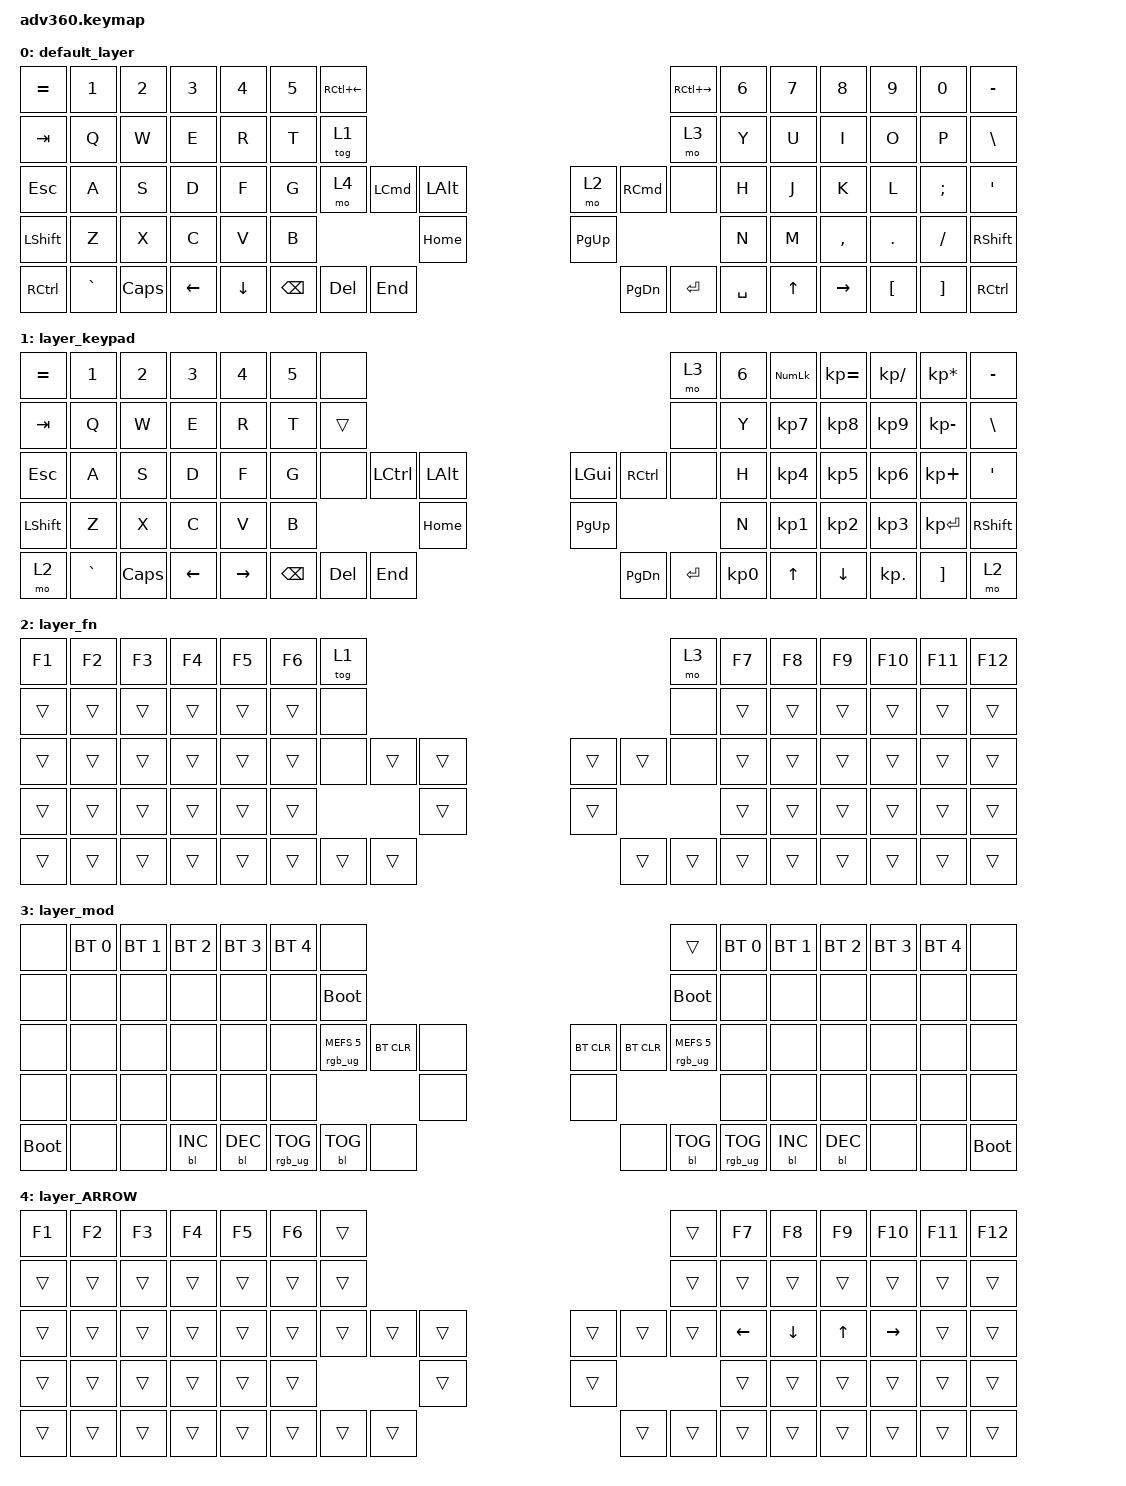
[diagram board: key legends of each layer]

/*
 * Copyright (c) 2020 The ZMK Contributors
 *
 * SPDX-License-Identifier: MIT
 */


/* THIS FILE WAS GENERATED!
 *
 * This file was generated automatically. You may or may not want to
 * edit it directly.
 */

#include <behaviors.dtsi>
#include <dt-bindings/zmk/keys.h>
#include <dt-bindings/zmk/bt.h>
#include <dt-bindings/zmk/rgb.h>
#include <dt-bindings/zmk/backlight.h>

/ {
  behaviors {
    #include "macros.dtsi"
    #include "version.dtsi"

    hm: homerow_mods {
        compatible = "zmk,behavior-hold-tap";
        label = "HOMEROW_MODS";
        #binding-cells = <2>;
        tapping-term-ms = <200>;
        quick_tap_ms = <175>;
        flavor = "tap-preferred";
        bindings = <&kp>, <&kp>;
    };
  };

    keymap {
        compatible = "zmk,keymap";


        default_layer {
            bindings = <
 &kp EQUAL     &kp N1    &kp N2    &kp N3    &kp N4  &kp N5            &kp RC(LEFT)                                                                            &kp RC(RIGHT)  &kp N6  &kp N7     &kp N8    &kp N9    &kp N0  &kp MINUS
   &kp TAB      &kp Q     &kp W     &kp E     &kp R   &kp T                  &tog 1                                                                                    &mo 3   &kp Y   &kp U      &kp I     &kp O     &kp P   &kp BSLH
   &kp ESC      &kp A     &kp S     &kp D     &kp F   &kp G                   &mo 4  &kp LEFT_COMMAND  &kp LALT                      &mo 2  &kp RIGHT_COMMAND          &none   &kp H   &kp J      &kp K     &kp L  &kp SEMI    &kp SQT
 &kp LSHFT      &kp Z     &kp X     &kp C     &kp V   &kp B                                            &kp HOME                  &kp PG_UP                                     &kp N   &kp M  &kp COMMA   &kp DOT  &kp FSLH  &kp RSHFT
 &kp RCTRL  &kp GRAVE  &kp CAPS  &kp LEFT  &kp DOWN                        &kp BSPC           &kp DEL   &kp END                  &kp PG_DN          &kp ENTER      &kp SPACE          &kp UP  &kp RIGHT  &kp LBKT  &kp RBKT  &kp RCTRL
            >;
        };

        layer_keypad {
            bindings = <
 &kp EQUAL     &kp N1    &kp N2    &kp N3     &kp N4  &kp N5               &none                                                                 &mo 3  &kp N6  &kp KP_NUM  &kp KP_EQUAL  &kp KP_DIVIDE  &kp KP_MULTIPLY  &kp MINUS
   &kp TAB      &kp Q     &kp W     &kp E      &kp R   &kp T              &trans                                                                 &none   &kp Y   &kp KP_N7     &kp KP_N8      &kp KP_N9     &kp KP_MINUS   &kp BSLH
   &kp ESC      &kp A     &kp S     &kp D      &kp F   &kp G               &none  &kp LCTRL  &kp LALT                   &kp LGUI  &kp RCTRL      &none   &kp H   &kp KP_N4     &kp KP_N5      &kp KP_N6      &kp KP_PLUS    &kp SQT
 &kp LSHFT      &kp Z     &kp X     &kp C      &kp V   &kp B                                 &kp HOME                  &kp PG_UP                         &kp N   &kp KP_N1     &kp KP_N2      &kp KP_N3     &kp KP_ENTER  &kp RSHFT
     &mo 2  &kp GRAVE  &kp CAPS  &kp LEFT  &kp RIGHT                    &kp BSPC    &kp DEL   &kp END                  &kp PG_DN  &kp ENTER  &kp KP_N0              &kp UP      &kp DOWN     &kp KP_DOT         &kp RBKT      &mo 2
            >;
        };

        layer_fn {
            bindings = <
 &kp F1  &kp F2  &kp F3  &kp F4  &kp F5  &kp F6            &tog 1                                                   &mo 3  &kp F7  &kp F8  &kp F9  &kp F10  &kp F11  &kp F12
 &trans  &trans  &trans  &trans  &trans  &trans             &none                                                   &none  &trans  &trans  &trans   &trans   &trans   &trans
 &trans  &trans  &trans  &trans  &trans  &trans             &none  &trans  &trans                  &trans  &trans   &none  &trans  &trans  &trans   &trans   &trans   &trans
 &trans  &trans  &trans  &trans  &trans  &trans                            &trans                  &trans                  &trans  &trans  &trans   &trans   &trans   &trans
 &trans  &trans  &trans  &trans  &trans                    &trans  &trans  &trans                  &trans  &trans  &trans          &trans  &trans   &trans   &trans   &trans
            >;
        };

        layer_mod {
            bindings = <
       &none  &bt BT_SEL 0  &bt BT_SEL 1  &bt BT_SEL 2  &bt BT_SEL 3  &bt BT_SEL 4                             &none                                                                              &trans  &bt BT_SEL 0  &bt BT_SEL 1  &bt BT_SEL 2  &bt BT_SEL 3  &bt BT_SEL 4        &none
       &none         &none         &none         &none         &none         &none                       &bootloader                                                                         &bootloader         &none         &none         &none         &none         &none        &none
       &none         &none         &none         &none         &none         &none            &rgb_ug RGB_MEFS_CMD 5  &bt BT_CLR   &none                  &bt BT_CLR  &bt BT_CLR  &rgb_ug RGB_MEFS_CMD 5         &none         &none         &none         &none         &none        &none
       &none         &none         &none         &none         &none         &none                                                 &none                       &none                                             &none         &none         &none         &none         &none        &none
 &bootloader         &none         &none    &bl BL_INC    &bl BL_DEC                                 &rgb_ug RGB_TOG  &bl BL_TOG   &none                       &none  &bl BL_TOG         &rgb_ug RGB_TOG                  &bl BL_INC    &bl BL_DEC         &none         &none  &bootloader
            >;
        };

        layer_ARROW {
            bindings = <
 &kp F1  &kp F2  &kp F3  &kp F4  &kp F5  &kp F6            &trans                                                  &trans    &kp F7    &kp F8  &kp F9    &kp F10  &kp F11  &kp F12
 &trans  &trans  &trans  &trans  &trans  &trans            &trans                                                  &trans    &trans    &trans  &trans     &trans   &trans   &trans
 &trans  &trans  &trans  &trans  &trans  &trans            &trans  &trans  &trans                  &trans  &trans  &trans  &kp LEFT  &kp DOWN  &kp UP  &kp RIGHT   &trans   &trans
 &trans  &trans  &trans  &trans  &trans  &trans                            &trans                  &trans                    &trans    &trans  &trans     &trans   &trans   &trans
 &trans  &trans  &trans  &trans  &trans                    &trans  &trans  &trans                  &trans  &trans  &trans              &trans  &trans     &trans   &trans   &trans
            >;
        };

    };
};
